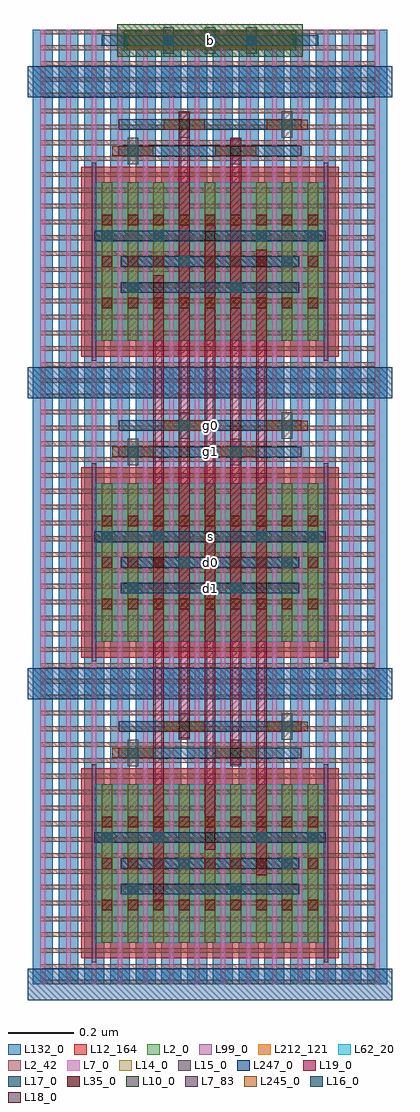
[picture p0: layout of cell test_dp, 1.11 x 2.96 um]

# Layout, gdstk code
import gdstk
lib = gdstk.Library(unit=1e-6, precision=1e-12)
def R(c, l, rs):  # rectangles x0, y0, x1, y1
    for r in rs: c.add(gdstk.rectangle(r[:2], r[2:], *l))
def A(c, l, x, y, w, h, nx, ny, dx, dy):  # array of equal rectangles
    R(c, l, [(x+i*dx, y+j*dy, x+i*dx+w, y+j*dy+h) for i in range(nx) for j in range(ny)])
L2_0 = (2, 0)
L2_42 = (2, 42)
L7_0 = (7, 0)
L7_83 = (7, 83)
L10_0 = (10, 0)
L12_164 = (12, 164)
L14_0 = (14, 0)
L15_0 = (15, 0)
L16_0 = (16, 0)
L17_0 = (17, 0)
L18_0 = (18, 0)
L19_0 = (19, 0)
L35_0 = (35, 0)
L62_20 = (62, 20)
L99_0 = (99, 0)
L132_0 = (132, 0)
L212_121 = (212, 121)
L245_0 = (245, 0)
L247_0 = (247, 0)

test_dp = lib.new_cell('test_dp')
A(test_dp, L2_0, 0.186, 0.127, 0.702, 0.48, 1, 3, 0, 0.912)
R(test_dp, L2_0, [(0.2762,2.831,0.7978,2.891)])
A(test_dp, L2_42, 0.023, 0, 1.014, 0.014, 1, 61, 0, 0.048)
A(test_dp, L7_0, 0.023, 0, 0.014, 2.894, 14, 1, 0.078, 0)
A(test_dp, L7_83, 0.179, 0.067, 0.014, 0.6, 1, 3, 0, 0.912)
A(test_dp, L7_83, 0.881, 0.067, 0.014, 0.6, 1, 3, 0, 0.912)
R(test_dp, L10_0, [(0.2562,2.811,0.8178,2.911)])
A(test_dp, L12_164, 0.147, 0.079, 0.78, 0.576, 1, 3, 0, 0.912)
A(test_dp, L14_0, 0.208, 0.127, 0.034, 0.48, 9, 3, 0.078, 0.912)
R(test_dp, L14_0, [(0.2912,2.841,0.7828,2.881)])
A(test_dp, L15_0, 0.209, 0.127, 0.032, 0.48, 9, 3, 0.078, 0.912)
A(test_dp, L15_0, 0.287, 0.662, 0.032, 0.08, 1, 3, 0, 0.912)
A(test_dp, L15_0, 0.599, 0.662, 0.032, 0.08, 1, 3, 0, 0.912)
A(test_dp, L15_0, 0.443, 0.742, 0.032, 0.08, 1, 3, 0, 0.912)
A(test_dp, L15_0, 0.755, 0.742, 0.032, 0.08, 1, 3, 0, 0.912)
A(test_dp, L15_0, 0.395, 2.821, 0.032, 0.08, 3, 1, 0.126, 0)
A(test_dp, L16_0, 0.209, 0.429, 0.032, 0.032, 5, 3, 0.156, 0.912)
A(test_dp, L16_0, 0.395, 2.845, 0.032, 0.032, 3, 1, 0.126, 0)
R(test_dp, L16_0, [(0.287,0.273,0.319,0.305), (0.599,0.273,0.631,0.305), (0.443,0.351,0.475,0.383), (0.755,0.351,0.787,0.383), (0.287,0.686,0.319,0.718), (0.599,0.686,0.631,0.718), (0.443,0.766,0.475,0.798), (0.755,0.766,0.787,0.798), (0.287,1.185,0.319,1.217), (0.599,1.185,0.631,1.217), (0.443,1.263,0.475,1.295), (0.755,1.263,0.787,1.295), (0.287,1.598,0.319,1.63), (0.599,1.598,0.631,1.63), (0.443,1.678,0.475,1.71), (0.755,1.678,0.787,1.71), (0.287,2.097,0.319,2.129), (0.599,2.097,0.631,2.129), (0.443,2.175,0.475,2.207), (0.755,2.175,0.787,2.207), (0.287,2.51,0.319,2.542), (0.599,2.51,0.631,2.542), (0.443,2.59,0.475,2.622), (0.755,2.59,0.787,2.622)])
A(test_dp, L17_0, 0.186, 0.429, 0.702, 0.032, 1, 3, 0, 0.912)
R(test_dp, L17_0, [(0.267,0.273,0.807,0.305), (0.267,0.351,0.807,0.383), (0.261,0.686,0.813,0.718), (0.261,0.766,0.813,0.798), (0.267,1.185,0.807,1.217), (0.267,1.263,0.807,1.295), (0.261,1.598,0.813,1.63), (0.261,1.678,0.813,1.71), (0.267,2.097,0.807,2.129), (0.267,2.175,0.807,2.207), (0.261,2.51,0.813,2.542), (0.261,2.59,0.813,2.622), (0.209,2.845,0.865,2.877)])
A(test_dp, L18_0, 0.521, 0.429, 0.032, 0.032, 1, 3, 0, 0.912)
R(test_dp, L18_0, [(0.365,0.273,0.397,0.305), (0.677,0.351,0.709,0.383), (0.599,0.686,0.631,0.718), (0.443,0.766,0.475,0.798), (0.677,1.185,0.709,1.217), (0.365,1.263,0.397,1.295), (0.443,1.598,0.475,1.63), (0.599,1.678,0.631,1.71), (0.365,2.097,0.397,2.129), (0.677,2.175,0.709,2.207), (0.599,2.51,0.631,2.542), (0.443,2.59,0.475,2.622)])
R(test_dp, L19_0, [(0.365,0.253,0.397,2.149), (0.677,0.331,0.709,2.227), (0.521,0.409,0.553,2.305), (0.599,0.666,0.631,2.563), (0.443,0.746,0.475,2.643)])
A(test_dp, L35_0, 0.209, 0.225, 0.032, 0.032, 9, 3, 0.078, 0.126)
A(test_dp, L35_0, 0.287, 0.686, 0.032, 0.032, 1, 3, 0, 0.912)
A(test_dp, L35_0, 0.599, 0.686, 0.032, 0.032, 1, 3, 0, 0.912)
A(test_dp, L35_0, 0.443, 0.766, 0.032, 0.032, 1, 3, 0, 0.912)
A(test_dp, L35_0, 0.755, 0.766, 0.032, 0.032, 1, 3, 0, 0.912)
A(test_dp, L35_0, 0.209, 1.137, 0.032, 0.032, 9, 3, 0.078, 0.126)
A(test_dp, L35_0, 0.209, 2.049, 0.032, 0.032, 9, 3, 0.078, 0.126)
A(test_dp, L35_0, 0.395, 2.845, 0.032, 0.032, 3, 1, 0.126, 0)
A(test_dp, L62_20, 0.186, 0.127, 0.702, 0.48, 1, 3, 0, 0.912)
A(test_dp, L99_0, 0.186, 0.127, 0.702, 0.48, 1, 3, 0, 0.912)
R(test_dp, L99_0, [(0.2862,2.836,0.7878,2.886)])
A(test_dp, L132_0, 0, 0, 0.06, 2.894, 14, 1, 0.078, 0)
A(test_dp, L212_121, 0.186, 0.127, 0.702, 0.48, 1, 3, 0, 0.912)
A(test_dp, L245_0, 0.241, 0.687, 0.124, 0.03, 1, 3, 0, 0.912)
A(test_dp, L245_0, 0.553, 0.687, 0.124, 0.03, 1, 3, 0, 0.912)
A(test_dp, L245_0, 0.397, 0.767, 0.124, 0.03, 1, 3, 0, 0.912)
A(test_dp, L245_0, 0.709, 0.767, 0.124, 0.03, 1, 3, 0, 0.912)
A(test_dp, L247_0, -0.016, -0.047, 1.106, 0.094, 1, 4, 0, 0.912)
test_dp.add(gdstk.Label('s', (0.537,1.357), layer=16, texttype=20))
test_dp.add(gdstk.Label('d1', (0.537,1.201), layer=16, texttype=20))
test_dp.add(gdstk.Label('d0', (0.537,1.279), layer=16, texttype=20))
test_dp.add(gdstk.Label('g0', (0.537,1.6945), layer=16, texttype=20))
test_dp.add(gdstk.Label('g1', (0.537,1.6145), layer=16, texttype=20))
test_dp.add(gdstk.Label('b', (0.537,2.861), layer=16, texttype=20))

lib.write_gds('test_dp.gds')
